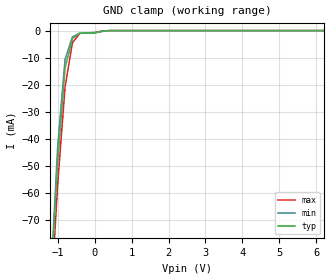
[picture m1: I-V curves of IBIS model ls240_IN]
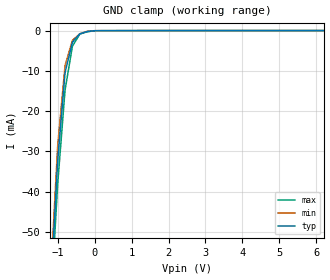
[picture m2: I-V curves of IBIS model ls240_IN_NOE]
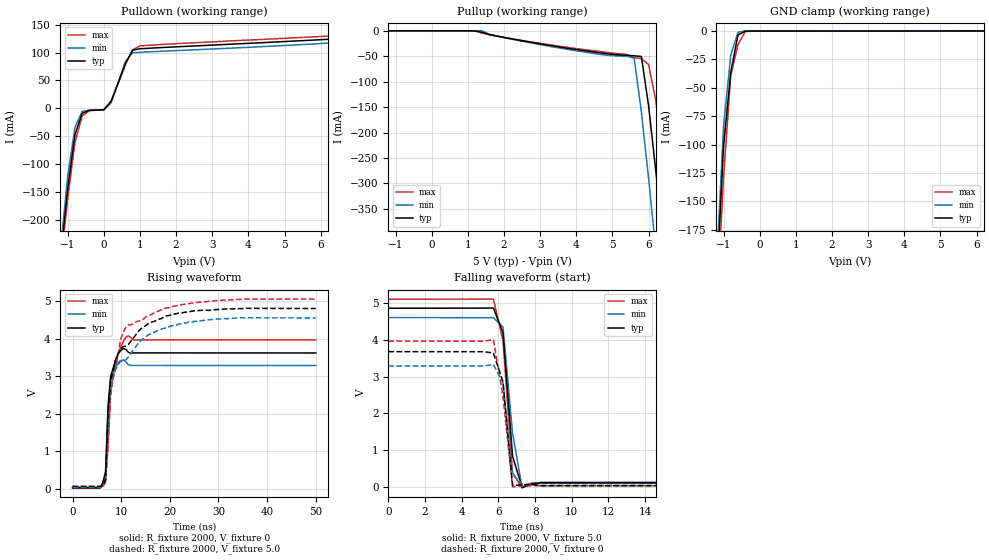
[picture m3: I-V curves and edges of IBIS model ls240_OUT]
|   TEXAS INSTRUMENTS INCORPORATED
|   Standard Linear and Logic Group
|   IBIS Model of SN74LS240
|   OCTAL BUFFERS AND LINE DRIVERS WITH 3-STATE OUTPUTS
|   SOP 20-pin (DW), SOP 20-pin (NS), SSOP 20-pin (DB)
[IBIS Ver]   3.2
[Comment Char]  |_char
[File Name]   sn74ls240.ibs
[File Rev]   3.2
[Date]   November 17, 2004
[Source]   File originated at Texas Instruments, Inc.
[Notes]   The following is a sample IBIS file for the LS240.
   - FILE REV HISTORY
   - 3.2 Re-Release IBIS file on 11/19/04
   - Power clamp data deleted as there is no power-clamp diode
   - All test data contained in this file are derived from
   actual measurements.
   - The measurement used NS package.
   - We have data across voltage and temperature, but not across
   process.
   - File created by Nobuhisa Ohtsubo, SLL Product Engineering.
[Disclaimer] Property of Texas Instruments Incorporated.  Unauthorized
                reproduction and/or distribution is strictly prohibited.
                This product is protected under copyright law.
                Created 2000, (C) Copyright 2000, Texas Instruments Inc.,
                All Rights Reserved.
                UNLESS THERE IS A SIGNED, WRITTEN AGREEMENT TO THE
                CONTRARY, TEXAS INSTRUMENTS () IS PROVIDING THE IBIS
                MODELS  AND WITHOUT ANY WARRANTY, EXPRESSED OR
                IMPLIED.  TI assumes no liability for:
                 1) the accuracy of the IBIS models provided to your
                    company;
                 2) the proper functioning of these IBIS Models in your
                    design or for any resulting applications; or
                 3) infringement of patents, copyrights or intellectual
                    property rights resulting from your use of these IBIS
                    models.
                TI provides IBIS Models as a service to our customers.
                You and your company shall not distribute, sell or give
                these models to anyone else without prior written
                permission from TI.
                TI reserves the right to make changes to our products or
                to discontinue any semiconductor product or service
                without notice, and advises our customers to obtain the
                latest version of relevant information to verify, before
                placing orders, that the information being relied on is
                current.
                Please be aware that your receipt and use of the IBIS
                information provided shall serve as acceptance of these
                terms and conditions.  If you do not accept these terms,
                you should return or destroy the IBIS models and any
                other accompanying information immediately.
|   Component ls240_DW
[Component]   ls240_DW
[Manufacturer]  Texas Instruments, Inc.
[Package]
|   typ   min   max
R_pkg   0.038   0.033   0.045
L_pkg   5.012nH   4.110nH   6.349nH
C_pkg   0.717pF   0.530pF   0.868pF
[Pin]   signal_name   model_name   R_pin   L_pin   C_pin
1   1G_NOT   ls240_IN_NOE   0.042   6.336nH   0.865pF
2   1A1   ls240_IN   0.043   5.542nH   0.867pF
3   2Y4   ls240_OUT   0.034   4.714nH   0.732pF
4   1A2   ls240_IN   0.034   4.377nH   0.591pF
5   2Y3   ls240_OUT   0.036   4.130nH   0.533pF
6   1A3   ls240_IN   0.035   4.111nH   0.530pF
7   2Y2   ls240_OUT   0.034   4.284nH   0.583pF
8   1A4   ls240_IN   0.034   4.634nH   0.726pF
9   2Y1   ls240_OUT   0.040   5.518nH   0.865pF
10   GND   GND   0.043   6.349nH   0.866pF
11   2A1   ls240_IN   0.041   6.281nH   0.861pF
12   1Y4   ls240_OUT   0.045   5.561nH   0.868pF
13   2A2   ls240_IN   0.033   4.778nH   0.742pF
14   1Y3   ls240_OUT   0.035   4.414nH   0.596pF
15   2A3   ls240_IN   0.035   4.110nH   0.533pF
16   1Y2   ls240_OUT   0.036   4.130nH   0.533pF
17   2A4   ls240_IN   0.034   4.377nH   0.591pF
18   1Y1   ls240_OUT   0.034   4.714nH   0.731pF
19   2G_NOT   ls240_IN_NOE   0.043   5.569nH   0.868pF
20   VCC   POWER   0.042   6.308nH   0.864pF
|   Component LS240_NS
[Component]   ls240_NS
[Manufacturer]  Texas Instruments, Inc.
[Package]
|   typ   min   max
R_pkg   0.044   0.029   0.058
L_pkg   3.666nH   2.317nH   5.115nH
C_pkg   0.548pF   0.316pF   0.725pF
[Pin]   signal_name   model_name   R_pin   L_pin   C_pin
1   1G_NOT   ls240_IN_NOE   0.058   5.115nH   0.725pF
2   1A1   ls240_IN   0.053   4.591nH   0.724pF
3   2Y4   ls240_OUT   0.049   3.754nH   0.572pF
4   1A2   ls240_IN   0.029   2.549nH   0.388pF
5   2Y3   ls240_OUT   0.031   2.317nH   0.316pF
6   1A3   ls240_IN   0.031   2.317nH   0.316pF
7   2Y2   ls240_OUT   0.029   2.556nH   0.399pF
8   1A4   ls240_IN   0.049   3.754nH   0.579pF
9   2Y1   ls240_OUT   0.053   4.591nH   0.724pF
10   GND   GND   0.058   5.115nH   0.725pF
11   2A1   ls240_IN   0.058   5.115nH   0.725pF
12   1Y4   ls240_OUT   0.053   4.591nH   0.724pF
13   2A2   ls240_IN   0.049   3.754nH   0.579pF
14   1Y3   ls240_OUT   0.029   2.557nH   0.399pF
15   2A3   ls240_IN   0.031   2.317nH   0.316pF
16   1Y2   ls240_OUT   0.031   2.317nH   0.316pF
17   2A4   ls240_IN   0.029   2.557nH   0.399pF
18   1Y1   ls240_OUT   0.049   3.754nH   0.579pF
19   2G_NOT   ls240_IN_NOE   0.053   4.591nH   0.724pF
20   VCC   POWER   0.058   5.115nH   0.725pF
|   Component LS240_DB
[Component]   ls240_DB
[Manufacturer]  Texas Instruments, Inc.
[Package]
|   typ   min   max
R_pkg   0.040   0.035   0.051
L_pkg   3.495nH   3.035nH   4.314nH
C_pkg   0.420pF   0.346pF   0.502pF
[Pin]   signal_name   model_name   R_pin   L_pin   C_pin
1   1G_NOT   ls240_IN_NOE   0.049   4.310nH   0.502pF
2   1A1   ls240_IN   0.048   3.903nH   0.487pF
3   2Y4   ls240_OUT   0.035   3.189nH   0.396pF
4   1A2   ls240_IN   0.035   3.036nH   0.347pF
5   2Y3   ls240_OUT   0.035   3.035nH   0.367pF
6   1A3   ls240_IN   0.035   3.035nH   0.367pF
7   2Y2   ls240_OUT   0.035   3.036nH   0.347pF
8   1A4   ls240_IN   0.035   3.189nH   0.397pF
9   2Y1   ls240_OUT   0.047   3.899nH   0.488pF
10   GND   GND   0.051   4.314nH   0.500pF
11   2A1   ls240_IN   0.051   4.314nH   0.500pF
12   1Y4   ls240_OUT   0.047   3.899nH   0.488pF
13   2A2   ls240_IN   0.035   3.189nH   0.397pF
14   1Y3   ls240_OUT   0.035   3.036nH   0.346pF
15   2A3   ls240_IN   0.035   3.035nH   0.367pF
16   1Y2   ls240_OUT   0.035   3.035nH   0.367pF
17   2A4   ls240_IN   0.035   3.036nH   0.346pF
18   1Y1   ls240_OUT   0.035   3.189nH   0.397pF
19   2G_NOT   ls240_IN_NOE   0.047   3.899nH   0.488pF
20   VCC   POWER   0.051   4.314nH   0.502pF
| Models and submodels in the file (3): ls240_IN (Input), ls240_IN_NOE (Input), ls240_OUT (3-state)
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|   Model ls240_IN
[Model]   ls240_IN
Model_type  Input
Polarity   Inverting
Vinl = 0.8
Vinh = 2.0
| variable   typ   min   max
C_comp   1.33pf   1.00pf   1.66pf
[Temperature Range]   25   0   70
[Voltage Range]   5.0   4.75   5.25
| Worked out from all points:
|   GND clamp passes 1 mA (typ) near -0.40 V on its own axis
[GND Clamp]
|   Voltage   I(typ)   I(min)   I(max)
-5V       -1.265A    -1.347A    -1.142A
-1.2V     -98.98mA   -95.17mA   -103.7mA
-1V       -48.51mA   -42.82mA   -56.74mA
-800mV    -13.8mA    -10.59mA   -20.86mA
-600mV    -2.928mA   -2.339mA   -4.472mA
-400mV    -977.1uA   -976.8uA   -1.043mA
99.48fV   -844.4uA   -859.8uA   -739.2uA
400mV     -1.792uA   -2.176uA   -1.734uA
10V       21.85nA    11.48nA    22.89nA
|   Model ls240_IN_NOE
[Model]   ls240_IN_NOE
Model_type  Input
Polarity   Inverting
Vinl = 0.8
Vinh = 2.0
| variable   typ   min   max
C_comp   1.33pf   1.00pf   1.66pf
[Temperature Range]   25   0   70
[Voltage Range]   5.0   4.75   5.25
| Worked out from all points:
|   GND clamp passes 1 mA (typ) near -0.42 V on its own axis
[GND Clamp]
|   Voltage   I(typ)   I(min)   I(max)
-5V       -891.1mA   -939.4mA   -814.1mA
-1.2V     -66.35mA   -63.23mA   -70.31mA
-1V       -32.39mA   -28.67mA   -38.19mA
-800mV    -10.45mA   -8.682mA   -14.75mA
-600mV    -2.866mA   -2.422mA   -3.861mA
-400mV    -795.8uA   -789uA     -872.4uA
-200mV    -224.1uA   -174uA     -300.5uA
200mV     -24.02uA   -24.66uA   -22.27uA
10V       21.55nA    7.48nA     16.74nA
|   Model ls240_OUT
[Model]   ls240_OUT
Model_type  3-state
Polarity   Non-Inverting
Enable   Active-Low
Vmeas = 1.3v
Cref = 45pf
Rref = 667
Vref = 0V
| variable   typ   min   max
C_comp   5.8pf   4.35pf   7.25pf
[Temperature Range]   25   0   70
[Voltage Range]   5.0   4.75   5.25
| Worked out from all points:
|   slope of the pulldown table from 0 to 0.75 V, typ, clamps not added: 7.43 ohm
|   GND clamp passes 1 mA (typ) near -0.46 V on its own axis
|   rising waveform, R_fixture 2000, V_fixture 0: 20-80 % time 895ps typ, 799ps min, 1.53ns max; typ from 0.032 V to 3.62 V
|   falling waveform, R_fixture 2000, V_fixture 5.0: 20-80 % time 442ps typ, 561ps min, 476ps max; typ from 4.86 V to 0.116 V
|   rising waveform, R_fixture 2000, V_fixture 5.0: 20-80 % time 4.53ns typ, 5.18ns min, 2.82ns max; typ from 0.07 V to 4.8 V
|   falling waveform, R_fixture 2000, V_fixture 0: 20-80 % time 448ps typ, 408ps min, 590ps max; typ from 3.68 V to 0.034 V
[Pulldown]
|   Voltage   I(typ)   I(min)   I(max)
-5V       -2.684A    -2.902A    -2.499A
-1.2V     -269.1mA   -253mA     -282.7mA
-1V       -144.1mA   -122.3mA   -162mA
-800mV    -47.38mA   -34.28mA   -61.3mA
-600mV    -8.857mA   -5.476mA   -13.73mA
-400mV    -3.498mA   -3.302mA   -4.04mA
0V        -2.461mA   -2.752mA   -2.219mA
200mV     12.21mA    10.01mA    13.37mA
600mV     81.14mA    84.41mA    78.46mA
800mV     104.3mA    99.62mA    105.1mA
1V        106.8mA    100.4mA    111.8mA
10V       140mA      132.2mA    144.2mA
[Pullup]
|   Voltage   I(typ)   I(min)   I(max)
-5V       2.341uA    270.6nA    6.315uA
1.2V      -2.603uA   88.24nA    -103.2uA
1.4V      -3.155mA   -83.56uA   -4.822mA
3.2V      -28.02mA   -29.66mA   -26.78mA
5.4V      -48.03mA   -50.37mA   -46.46mA
5.6V      -49.11mA   -53.46mA   -52.89mA
5.8V      -50.43mA   -159.1mA   -54.6mA
6V        -147.5mA   -290.7mA   -66.46mA
6.2V      -276mA     -431.8mA   -137.5mA
6.4V      -403.7mA   -572.8mA   -253.7mA
6.6V      -534.5mA   -710.2mA   -377.9mA
10V       -2.607A    -3A        -2.31A
[GND Clamp]
|   Voltage   I(typ)   I(min)   I(max)
-5V       -3.151A    -3.374A    -2.719A
-1.2V     -228.5mA   -212.3mA   -250.6mA
-1V       -101.9mA   -84.41mA   -130mA
-800mV    -36.46mA   -21.12mA   -39.14mA
-600mV    -3.452mA   -1.046mA   -11.86mA
-400mV    -16.16uA   -2.085uA   -445.9uA
-200mV    -166.6nA   -17.58nA   -2.72uA
10V       215uA      239.2uA    176.9uA
[Ramp]
| variable   typ   min   max
dV/dt_r  2.088E+00/3.133E-09  1.878E+00/2.562E-09  2.322E+00/5.549E-09
dV/dt_f  2.964E+00/1.635E-09  2.808E+00/1.908E-09  3.132E+00/1.564E-09
[Rising Waveform]
R_fixture = 2000
V_fixture = 0
V_fixture_min = 0
V_fixture_max = 0
C_fixture = 0pf
L_fixture = 0nH
|   Time   V(typ)   V(min)   V(max)
0s        31.83mV    43.21mV    29.46mV
5.729ns   31.86mV    43.37mV    29.49mV
6.771ns   452.4mV    305.1mV    160.9mV
7.292ns   2.217V     1.849V     1.228V
7.813ns   2.989V     2.853V     2.581V
9.375ns   3.595V     3.371V     3.6V
10.42ns   3.735V     3.434V     3.925V
11.46ns   3.636V     3.306V     4.073V
12.5ns    3.62V      3.287V     3.965V
50ns      3.618V     3.285V     3.965V
[Falling Waveform]
R_fixture = 2000
V_fixture = 5.0
V_fixture_min = 4.75
V_fixture_max = 5.25
C_fixture = 0pf
L_fixture = 0nH
|   Time   V(typ)   V(min)   V(max)
0s        4.862V     4.608V     5.108V
5.729ns   4.866V     4.605V     5.11V
6.25ns    4.198V     4.351V     3.98V
6.771ns   840.5mV    1.466V     388.6mV
7.292ns   -16.91mV   -17.67mV   -24.25mV
7.813ns   78.97mV    65.84mV    111.3mV
8.333ns   116.5mV    129mV      107.3mV
50ns      115.9mV    129.2mV    108mV
[Rising Waveform]
R_fixture = 2000
V_fixture = 5.0
V_fixture_min = 4.75
V_fixture_max = 5.25
C_fixture = 0pf
L_fixture = 0nH
|   Time   V(typ)   V(min)   V(max)
0s        70mV       47.6mV     61.01mV
5.729ns   70.05mV    52.5mV     61.89mV
6.771ns   252.1mV    257.8mV    238.3mV
7.292ns   2.005V     1.645V     1.119V
7.813ns   2.859V     2.675V     2.471V
9.896ns   3.72V      3.389V     3.994V
11.46ns   3.843V     3.509V     4.367V
15.63ns   4.403V     4.105V     4.617V
23.96ns   4.713V     4.446V     4.93V
50ns      4.801V     4.551V     5.051V
[Falling Waveform]
R_fixture = 2000
V_fixture = 0
V_fixture_min = 0
V_fixture_max = 0
C_fixture = 0pf
L_fixture = 0nH
|   Time   V(typ)   V(min)   V(max)
0s        3.681V     3.288V     3.967V
5.208ns   3.68V      3.293V     3.966V
5.729ns   3.643V     3.329V     4.008V
6.25ns    2.861V     2.834V     2.465V
6.771ns   41.58mV    347.4mV    6.79mV
7.292ns   58.98mV    75.46mV    26.84mV
7.813ns   69.63mV    71.67mV    35.42mV
8.333ns   32.92mV    45.74mV    31.01mV
50ns      33.75mV    44.02mV    33.62mV
